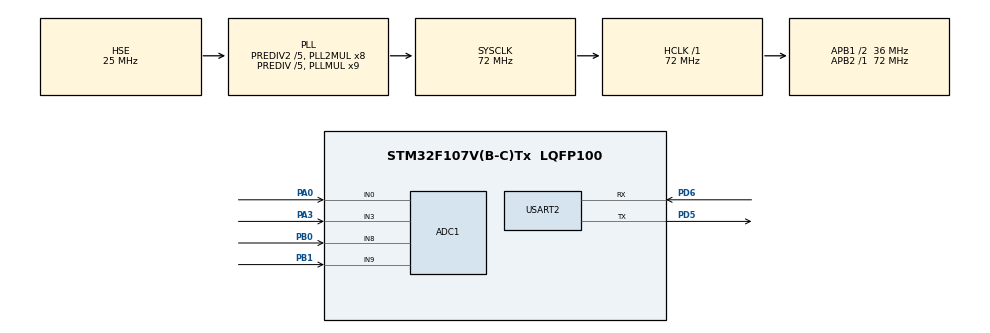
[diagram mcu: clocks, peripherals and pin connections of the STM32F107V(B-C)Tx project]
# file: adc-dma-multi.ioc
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ADC1.Channel-0\#ChannelRegularConversion=ADC_CHANNEL_0
ADC1.Channel-1\#ChannelRegularConversion=ADC_CHANNEL_3
ADC1.Channel-2\#ChannelRegularConversion=ADC_CHANNEL_8
ADC1.Channel-3\#ChannelRegularConversion=ADC_CHANNEL_9
ADC1.ContinuousConvMode=ENABLE
ADC1.DataAlign=ADC_DATAALIGN_RIGHT
ADC1.DiscontinuousConvMode=DISABLE
ADC1.EnableAnalogWatchDog=false
ADC1.EnableRegularConversion=ENABLE
ADC1.ExternalTrigConv=ADC_SOFTWARE_START
ADC1.InjNumberOfConversion=0
ADC1.NbrOfConversion=4
ADC1.NbrOfConversionFlag=1
ADC1.Rank-0\#ChannelRegularConversion=1
ADC1.Rank-1\#ChannelRegularConversion=2
ADC1.Rank-2\#ChannelRegularConversion=3
ADC1.Rank-3\#ChannelRegularConversion=4
ADC1.SamplingTime-0\#ChannelRegularConversion=ADC_SAMPLETIME_1CYCLE_5
ADC1.SamplingTime-1\#ChannelRegularConversion=ADC_SAMPLETIME_1CYCLE_5
ADC1.SamplingTime-2\#ChannelRegularConversion=ADC_SAMPLETIME_1CYCLE_5
ADC1.SamplingTime-3\#ChannelRegularConversion=ADC_SAMPLETIME_1CYCLE_5
ADC1.ScanConvMode=ADC_SCAN_ENABLE
ADC1.master=1
Dma.ADC1.0.Direction=DMA_PERIPH_TO_MEMORY
Dma.ADC1.0.Instance=DMA1_Channel1
Dma.ADC1.0.MemDataAlignment=DMA_MDATAALIGN_HALFWORD
Dma.ADC1.0.MemInc=DMA_MINC_ENABLE
Dma.ADC1.0.Mode=DMA_CIRCULAR
Dma.ADC1.0.PeriphDataAlignment=DMA_PDATAALIGN_HALFWORD
Dma.ADC1.0.PeriphInc=DMA_PINC_DISABLE
Dma.ADC1.0.Priority=DMA_PRIORITY_LOW
Dma.Request0=ADC1
Mcu.Family=STM32F1
Mcu.Name=STM32F107V(B-C)Tx
Mcu.Package=LQFP100
NVIC.DMA1_Channel1_IRQn=true\:0\:0\:false\:false\:true\:false
NVIC.PriorityGroup=NVIC_PRIORITYGROUP_4
OSC_IN.Mode=HSE-External-Oscillator
OSC_IN.Signal=RCC_OSC_IN
OSC_OUT.Mode=HSE-External-Oscillator
OSC_OUT.Signal=RCC_OSC_OUT
PA0-WKUP.Signal=ADCx_IN0
PA13.Mode=Serial_Wire
PA13.Signal=SYS_JTMS-SWDIO
PA14.Mode=Serial_Wire
PA14.Signal=SYS_JTCK-SWCLK
PA3.Signal=ADCx_IN3
PB0.Signal=ADCx_IN8
PB1.Signal=ADCx_IN9
PC14-OSC32_IN.Mode=LSE-External-Oscillator
PC14-OSC32_IN.Signal=RCC_OSC32_IN
PC15-OSC32_OUT.Mode=LSE-External-Oscillator
PC15-OSC32_OUT.Signal=RCC_OSC32_OUT
PD5.Mode=Asynchronous
PD5.Signal=USART2_TX
PD6.Mode=Asynchronous
PD6.Signal=USART2_RX
ProjectManager.HeapSize=0x200
ProjectManager.StackSize=0x400
ProjectManager.TargetToolchain=MDK-ARM V5
RCC.ADCPresc=RCC_ADCPCLK2_DIV6
RCC.AHBFreq_Value=72000000
RCC.APB1CLKDivider=RCC_HCLK_DIV2
RCC.APB1Freq_Value=36000000
RCC.APB1TimFreq_Value=72000000
RCC.APB2Freq_Value=72000000
RCC.APB2TimFreq_Value=72000000
RCC.HCLKFreq_Value=72000000
RCC.HSEDivPLL=RCC_HSE_PREDIV_DIV5
RCC.HSE_VALUE=25000000
RCC.PLLMUL=RCC_PLL_MUL9
RCC.PLLSourceVirtual=RCC_PLLSOURCE_HSE
RCC.Prediv1Source=RCC_PREDIV1_SOURCE_PLL2
RCC.Prediv2=RCC_HSE_PREDIV2_DIV5
RCC.SYSCLKFreq_VALUE=72000000
RCC.SYSCLKSource=RCC_SYSCLKSOURCE_PLLCLK
RCC.USBFreq_Value=48000000
SH.ADCx_IN0.0=ADC1_IN0,IN0
SH.ADCx_IN3.0=ADC1_IN3,IN3
SH.ADCx_IN8.0=ADC1_IN8,IN8
SH.ADCx_IN9.0=ADC1_IN9,IN9
USART2.VirtualMode=VM_ASYNC
board=adc-dma-multi

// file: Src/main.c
/**
  ******************************************************************************
  * @file           : main.c
  * @brief          : Main program body
  ******************************************************************************
  ** This notice applies to any and all portions of this file
  * that are not between comment pairs USER CODE BEGIN and
  * USER CODE END. Other portions of this file, whether
  * inserted by the user or by software development tools
  * are owned by their respective copyright owners.
  *
  * COPYRIGHT(c) 2018 STMicroelectronics
  *
  * Redistribution and use in source and binary forms, with or without modification,
  * are permitted provided that the following conditions are met:
  *   1. Redistributions of source code must retain the above copyright notice,
  *      this list of conditions and the following disclaimer.
  *   2. Redistributions in binary form must reproduce the above copyright notice,
  *      this list of conditions and the following disclaimer in the documentation
  *      and/or other materials provided with the distribution.
  *   3. Neither the name of STMicroelectronics nor the names of its contributors
  *      may be used to endorse or promote products derived from this software
  *      without specific prior written permission.
  *
  * THIS SOFTWARE IS PROVIDED BY THE COPYRIGHT HOLDERS AND CONTRIBUTORS "AS IS"
  * AND ANY EXPRESS OR IMPLIED WARRANTIES, INCLUDING, BUT NOT LIMITED TO, THE
  * IMPLIED WARRANTIES OF MERCHANTABILITY AND FITNESS FOR A PARTICULAR PURPOSE ARE
  * DISCLAIMED. IN NO EVENT SHALL THE COPYRIGHT HOLDER OR CONTRIBUTORS BE LIABLE
  * FOR ANY DIRECT, INDIRECT, INCIDENTAL, SPECIAL, EXEMPLARY, OR CONSEQUENTIAL
  * DAMAGES (INCLUDING, BUT NOT LIMITED TO, PROCUREMENT OF SUBSTITUTE GOODS OR
  * SERVICES; LOSS OF USE, DATA, OR PROFITS; OR BUSINESS INTERRUPTION) HOWEVER
  * CAUSED AND ON ANY THEORY OF LIABILITY, WHETHER IN CONTRACT, STRICT LIABILITY,
  * OR TORT (INCLUDING NEGLIGENCE OR OTHERWISE) ARISING IN ANY WAY OUT OF THE USE
  * OF THIS SOFTWARE, EVEN IF ADVISED OF THE POSSIBILITY OF SUCH DAMAGE.
  *
  ******************************************************************************
  */
#include "main.h"
#include "stm32f1xx_hal.h"

ADC_HandleTypeDef hadc1;
DMA_HandleTypeDef hdma_adc1;

UART_HandleTypeDef huart2;

/* USER CODE BEGIN PV */
/* Private variables ---------------------------------------------------------*/

/* USER CODE END PV */

void SystemClock_Config(void);
static void MX_GPIO_Init(void);
static void MX_DMA_Init(void);
static void MX_ADC1_Init(void);
static void MX_USART2_UART_Init(void);

/* USER CODE BEGIN PFP */
/* Private function prototypes -----------------------------------------------*/
struct __FILE { int handle; /* Add whatever you need here */ };
FILE __stdout;
FILE __stdin;

int fputc(int c, FILE *f) {
  return (HAL_UART_Transmit(&huart2,( uint8_t * )&c,1,1000));
}

int fgetc(FILE *f) {
	uint8_t c;
	HAL_UART_Receive(&huart2,&c,1,0xffff);
	return c;
}

int ferror(FILE *f) {
  /* Your implementation of ferror */
  return EOF;
}

void _ttywrch(int c) {
  HAL_UART_Transmit(&huart2,( uint8_t * )&c,1,1000);
}
/* USER CODE END PFP */

/* USER CODE BEGIN 0 */
		uint16_t ADCReadings[4]; //ADC Readings
/* USER CODE END 0 */

int main(void)
{
  /* USER CODE BEGIN 1 */
int i;
  /* USER CODE END 1 */

  /* MCU Configuration----------------------------------------------------------*/

  /* Reset of all peripherals, Initializes the Flash interface and the Systick. */
  HAL_Init();

  /* Configure the system clock */
  SystemClock_Config();

  /* Initialize all configured peripherals */
  MX_GPIO_Init();
  MX_DMA_Init();
  MX_ADC1_Init();
  MX_USART2_UART_Init();
  /* USER CODE BEGIN 2 */
  HAL_ADCEx_Calibration_Start(&hadc1);
	HAL_ADC_Start_DMA(&hadc1, (uint32_t*) ADCReadings, 4);//start the DMA collecting the data
  /* USER CODE END 2 */

  /* Infinite loop */
  while (1)
  {

  /* USER CODE BEGIN 3 */
		for(i = 0 ; i < 4 ; i++)
      printf("chanel %d = %d\n\r",i,ADCReadings[i]);

		  printf("**********************************\n\r");
      HAL_Delay(1000);
  }
  /* USER CODE END 3 */

}

void SystemClock_Config(void)
{

  RCC_OscInitTypeDef RCC_OscInitStruct;
  RCC_ClkInitTypeDef RCC_ClkInitStruct;
  RCC_PeriphCLKInitTypeDef PeriphClkInit;

    /**Initializes the CPU, AHB and APB busses clocks
    */
  RCC_OscInitStruct.OscillatorType = RCC_OSCILLATORTYPE_HSE;
  RCC_OscInitStruct.HSEState = RCC_HSE_ON;
  RCC_OscInitStruct.HSEPredivValue = RCC_HSE_PREDIV_DIV5;
  RCC_OscInitStruct.HSIState = RCC_HSI_ON;
  RCC_OscInitStruct.Prediv1Source = RCC_PREDIV1_SOURCE_PLL2;
  RCC_OscInitStruct.PLL.PLLState = RCC_PLL_ON;
  RCC_OscInitStruct.PLL.PLLSource = RCC_PLLSOURCE_HSE;
  RCC_OscInitStruct.PLL.PLLMUL = RCC_PLL_MUL9;
  RCC_OscInitStruct.PLL2.PLL2State = RCC_PLL2_ON;
  RCC_OscInitStruct.PLL2.PLL2MUL = RCC_PLL2_MUL8;
  RCC_OscInitStruct.PLL2.HSEPrediv2Value = RCC_HSE_PREDIV2_DIV5;
  if (HAL_RCC_OscConfig(&RCC_OscInitStruct) != HAL_OK)
  {
    _Error_Handler(__FILE__, __LINE__);
  }

    /**Initializes the CPU, AHB and APB busses clocks
    */
  RCC_ClkInitStruct.ClockType = RCC_CLOCKTYPE_HCLK|RCC_CLOCKTYPE_SYSCLK
                              |RCC_CLOCKTYPE_PCLK1|RCC_CLOCKTYPE_PCLK2;
  RCC_ClkInitStruct.SYSCLKSource = RCC_SYSCLKSOURCE_PLLCLK;
  RCC_ClkInitStruct.AHBCLKDivider = RCC_SYSCLK_DIV1;
  RCC_ClkInitStruct.APB1CLKDivider = RCC_HCLK_DIV2;
  RCC_ClkInitStruct.APB2CLKDivider = RCC_HCLK_DIV1;

  if (HAL_RCC_ClockConfig(&RCC_ClkInitStruct, FLASH_LATENCY_2) != HAL_OK)
  {
    _Error_Handler(__FILE__, __LINE__);
  }

  PeriphClkInit.PeriphClockSelection = RCC_PERIPHCLK_ADC;
  PeriphClkInit.AdcClockSelection = RCC_ADCPCLK2_DIV6;
  if (HAL_RCCEx_PeriphCLKConfig(&PeriphClkInit) != HAL_OK)
  {
    _Error_Handler(__FILE__, __LINE__);
  }

    /**Configure the Systick interrupt time
    */
  HAL_SYSTICK_Config(HAL_RCC_GetHCLKFreq()/1000);

    /**Configure the Systick
    */
  HAL_SYSTICK_CLKSourceConfig(SYSTICK_CLKSOURCE_HCLK);

    /**Configure the Systick interrupt time
    */
  __HAL_RCC_PLLI2S_ENABLE();

  /* SysTick_IRQn interrupt configuration */
  HAL_NVIC_SetPriority(SysTick_IRQn, 0, 0);
}

/* ADC1 init function */
static void MX_ADC1_Init(void)
{

  ADC_ChannelConfTypeDef sConfig;

    /**Common config
    */
  hadc1.Instance = ADC1;
  hadc1.Init.ScanConvMode = ADC_SCAN_ENABLE;
  hadc1.Init.ContinuousConvMode = ENABLE;
  hadc1.Init.DiscontinuousConvMode = DISABLE;
  hadc1.Init.ExternalTrigConv = ADC_SOFTWARE_START;
  hadc1.Init.DataAlign = ADC_DATAALIGN_RIGHT;
  hadc1.Init.NbrOfConversion = 4;
  if (HAL_ADC_Init(&hadc1) != HAL_OK)
  {
    _Error_Handler(__FILE__, __LINE__);
  }

    /**Configure Regular Channel
    */
  sConfig.Channel = ADC_CHANNEL_0;
  sConfig.Rank = ADC_REGULAR_RANK_1;
  sConfig.SamplingTime = ADC_SAMPLETIME_1CYCLE_5;
  if (HAL_ADC_ConfigChannel(&hadc1, &sConfig) != HAL_OK)
  {
    _Error_Handler(__FILE__, __LINE__);
  }

    /**Configure Regular Channel
    */
  sConfig.Channel = ADC_CHANNEL_3;
  sConfig.Rank = ADC_REGULAR_RANK_2;
  if (HAL_ADC_ConfigChannel(&hadc1, &sConfig) != HAL_OK)
  {
    _Error_Handler(__FILE__, __LINE__);
  }

    /**Configure Regular Channel
    */
  sConfig.Channel = ADC_CHANNEL_8;
  sConfig.Rank = ADC_REGULAR_RANK_3;
  if (HAL_ADC_ConfigChannel(&hadc1, &sConfig) != HAL_OK)
  {
    _Error_Handler(__FILE__, __LINE__);
  }

    /**Configure Regular Channel
    */
  sConfig.Channel = ADC_CHANNEL_9;
  sConfig.Rank = ADC_REGULAR_RANK_4;
  if (HAL_ADC_ConfigChannel(&hadc1, &sConfig) != HAL_OK)
  {
    _Error_Handler(__FILE__, __LINE__);
  }

}

/* USART2 init function */
static void MX_USART2_UART_Init(void)
{

  huart2.Instance = USART2;
  huart2.Init.BaudRate = 115200;
  huart2.Init.WordLength = UART_WORDLENGTH_8B;
  huart2.Init.StopBits = UART_STOPBITS_1;
  huart2.Init.Parity = UART_PARITY_NONE;
  huart2.Init.Mode = UART_MODE_TX_RX;
  huart2.Init.HwFlowCtl = UART_HWCONTROL_NONE;
  huart2.Init.OverSampling = UART_OVERSAMPLING_16;
  if (HAL_UART_Init(&huart2) != HAL_OK)
  {
    _Error_Handler(__FILE__, __LINE__);
  }

}

static void MX_DMA_Init(void)
{
  /* DMA controller clock enable */
  __HAL_RCC_DMA1_CLK_ENABLE();

  /* DMA interrupt init */
  /* DMA1_Channel1_IRQn interrupt configuration */
  HAL_NVIC_SetPriority(DMA1_Channel1_IRQn, 0, 0);
  HAL_NVIC_EnableIRQ(DMA1_Channel1_IRQn);

}

/** Configure pins as
        * Analog
        * Input
        * Output
        * EVENT_OUT
        * EXTI
*/
static void MX_GPIO_Init(void)
{

  /* GPIO Ports Clock Enable */
  __HAL_RCC_GPIOC_CLK_ENABLE();
  __HAL_RCC_GPIOA_CLK_ENABLE();
  __HAL_RCC_GPIOB_CLK_ENABLE();
  __HAL_RCC_GPIOD_CLK_ENABLE();

}

void _Error_Handler(char *file, int line)
{
  while(1)
  {
  }
}

/************************ (C) COPYRIGHT STMicroelectronics *****END OF FILE****/
